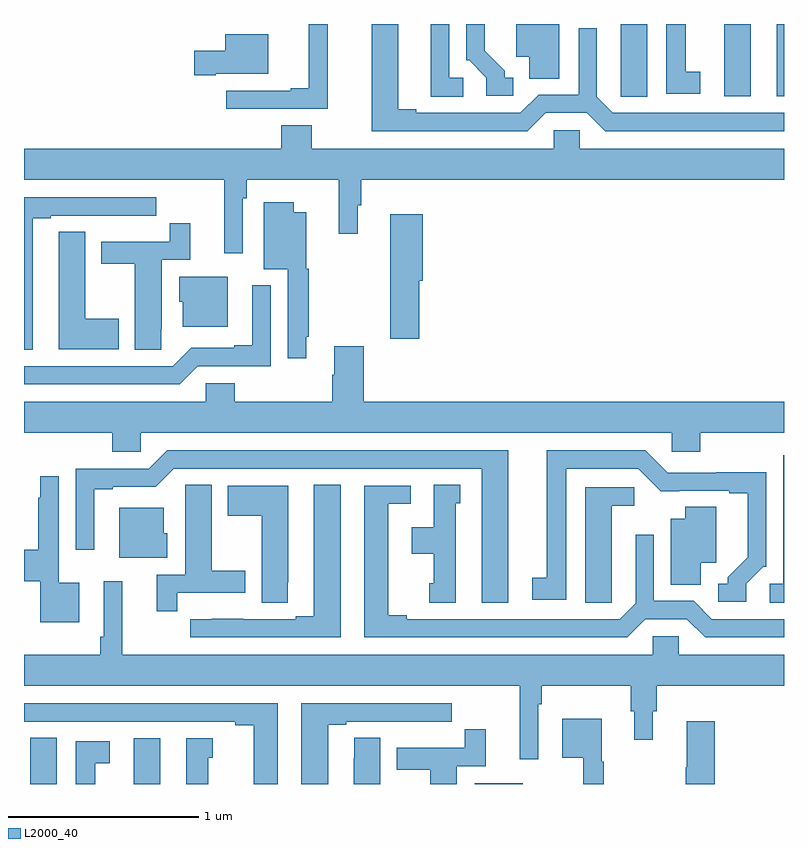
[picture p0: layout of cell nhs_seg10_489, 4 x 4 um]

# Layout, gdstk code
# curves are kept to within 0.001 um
import gdstk
lib = gdstk.Library(unit=1e-6, precision=1e-09)
def R(c, l, rs):  # rectangles x0, y0, x1, y1
    for r in rs: c.add(gdstk.rectangle(r[:2], r[2:], *l))
def P(c, l, *ps):  # polygons
    for p in ps: c.add(gdstk.Polygon(p, *l))
L2000_40 = (2000, 40)

nhs_seg10_489 = lib.new_cell('nhs_seg10_489')
R(nhs_seg10_489, L2000_40, [(135.578,1266.5,135.718,1266.742), (137.372,1266.5,137.626,1266.505), (138.686,1270.119,138.826,1270.5), (138.962,1270.119,139,1270.5)])
P(nhs_seg10_489, L2000_40, [(137.311,1270.218),(137.238,1270.218),(137.238,1270.5),(137.141,1270.5),(137.141,1270.117),(137.311,1270.117)],
  [(138.28,1270.5),(138.14,1270.5),(138.14,1270.225),(138.141,1270.225),(138.141,1270.117),(138.28,1270.117)],
  [(137.745,1270.032),(137.963,1270.032),(138.059,1269.936),(139,1269.936),(139,1270.032),(138.099,1270.032),(138.015,1270.116),(138.015,1270.477),(137.919,1270.477),(137.919,1270.128),(137.709,1270.128),(137.613,1270.032),(137.065,1270.032),(137.065,1270.052),(136.969,1270.052),(136.969,1270.5),(136.829,1270.5),(136.829,1269.936),(137.649,1269.936)],
  [(137.575,1270.218),(137.53,1270.218),(137.53,1270.253),(137.425,1270.358),(137.425,1270.5),(137.328,1270.5),(137.328,1270.308),(137.343,1270.308),(137.433,1270.218),(137.433,1270.122),(137.575,1270.122)],
  [(138.559,1270.25),(138.484,1270.25),(138.484,1270.5),(138.38,1270.5),(138.38,1270.134),(138.559,1270.134)],
  [(137.818,1270.5),(137.591,1270.5),(137.591,1270.328),(137.66,1270.328),(137.66,1270.213),(137.818,1270.213)],
  [(136.599,1270.5),(136.499,1270.5),(136.499,1270.162),(136.403,1270.162),(136.403,1270.149),(136.065,1270.149),(136.065,1270.053),(136.599,1270.053)],
  [(136.009,1270.238),(136.285,1270.238),(136.285,1270.447),(136.058,1270.447),(136.058,1270.36),(135.897,1270.36),(135.897,1270.231),(136.009,1270.231)],
  [(136.152,1269.584),(136.172,1269.584),(136.172,1269.68),(136.657,1269.68),(136.657,1269.396),(136.756,1269.396),(136.756,1269.546),(136.775,1269.546),(136.775,1269.68),(139,1269.68),(139,1269.844),(137.925,1269.844),(137.925,1269.942),(137.787,1269.942),(137.787,1269.844),(136.515,1269.844),(136.515,1269.968),(136.355,1269.968),(136.355,1269.844),(135,1269.844),(135,1269.68),(136.055,1269.68),(136.055,1269.294),(136.152,1269.294)],
  [(135.046,1269.477),(135.142,1269.477),(135.142,1269.492),(135.418,1269.492),(135.418,1269.491),(135.584,1269.491),(135.584,1269.492),(135.697,1269.492),(135.697,1269.588),(135,1269.588),(135,1268.785),(135.046,1268.785)],
  [(136.486,1268.854),(136.498,1268.854),(136.498,1269.213),(136.486,1269.213),(136.486,1269.508),(136.42,1269.508),(136.42,1269.562),(136.262,1269.562),(136.262,1269.209),(136.389,1269.209),(136.389,1268.742),(136.486,1268.742)],
  [(137.081,1269.15),(137.099,1269.15),(137.099,1269.499),(136.928,1269.499),(136.928,1269.15),(136.927,1269.15),(136.927,1268.844),(137.081,1268.844)],
  [(135.723,1268.896),(135.724,1268.896),(135.724,1269.258),(135.875,1269.258),(135.875,1269.451),(135.766,1269.451),(135.766,1269.354),(135.407,1269.354),(135.407,1269.238),(135.584,1269.238),(135.584,1268.785),(135.723,1268.785)],
  [(135.499,1268.949),(135.322,1268.949),(135.322,1269.407),(135.183,1269.407),(135.183,1269.299),(135.182,1269.299),(135.182,1268.789),(135.499,1268.789)],
  [(136.072,1269.169),(135.818,1269.169),(135.818,1269.039),(135.836,1269.039),(135.836,1268.906),(136.072,1268.906)],
  [(135.915,1268.7),(136.299,1268.7),(136.299,1269.124),(136.202,1269.124),(136.202,1268.809),(136.106,1268.809),(136.106,1268.796),(135.879,1268.796),(135.783,1268.7),(135,1268.7),(135,1268.604),(135.819,1268.604)],
  [(135.615,1268.348),(138.408,1268.348),(138.408,1268.25),(138.56,1268.25),(138.56,1268.348),(139,1268.348),(139,1268.512),(136.787,1268.512),(136.787,1268.803),(136.634,1268.803),(136.634,1268.654),(136.622,1268.654),(136.622,1268.512),(136.109,1268.512),(136.109,1268.61),(135.957,1268.61),(135.957,1268.512),(135,1268.512),(135,1268.348),(135.464,1268.348),(135.464,1268.25),(135.615,1268.25)],
  [(138.801,1267.554),(138.891,1267.644),(138.906,1267.644),(138.906,1268.141),(138.643,1268.141),(138.643,1268.139),(138.387,1268.139),(138.27,1268.256),(137.75,1268.256),(137.75,1267.586),(137.676,1267.586),(137.676,1267.47),(137.854,1267.47),(137.854,1268.16),(138.234,1268.16),(138.352,1268.042),(138.713,1268.043),(138.713,1268.031),(138.809,1268.031),(138.809,1267.694),(138.704,1267.589),(138.704,1267.554),(138.654,1267.554),(138.654,1267.458),(138.801,1267.458)],
  [(137.548,1268.256),(135.753,1268.256),(135.657,1268.16),(135.273,1268.16),(135.273,1267.734),(135.37,1267.734),(135.37,1268.052),(135.466,1268.052),(135.466,1268.064),(135.693,1268.064),(135.789,1268.16),(137.408,1268.16),(137.408,1267.455),(137.548,1267.455)],
  [(139,1268.229),(138.996,1268.229),(138.996,1267.554),(138.924,1267.554),(138.924,1267.453),(139,1267.453)],
  [(135.292,1267.558),(135.183,1267.558),(135.183,1268.119),(135.086,1268.119),(135.086,1268.006),(135.075,1268.006),(135.075,1267.734),(135,1267.734),(135,1267.568),(135.086,1267.568),(135.086,1267.352),(135.292,1267.352)],
  [(135.806,1267.506),(136.165,1267.506),(136.165,1267.623),(135.988,1267.623),(135.988,1268.075),(135.849,1268.075),(135.849,1267.964),(135.848,1267.964),(135.848,1267.602),(135.698,1267.602),(135.698,1267.41),(135.806,1267.41)],
  [(136.666,1268.075),(136.526,1268.075),(136.526,1267.383),(136.43,1267.383),(136.43,1267.368),(136.154,1267.368),(136.154,1267.369),(135.988,1267.369),(135.988,1267.368),(135.876,1267.368),(135.876,1267.272),(136.666,1267.272)],
  [(137.272,1267.977),(137.296,1267.977),(137.296,1268.075),(137.156,1268.075),(137.156,1267.852),(137.042,1267.852),(137.042,1267.712),(137.156,1267.712),(137.156,1267.557),(137.132,1267.557),(137.132,1267.455),(137.272,1267.455)],
  [(136.389,1267.561),(136.39,1267.561),(136.39,1268.071),(136.073,1268.071),(136.073,1267.912),(136.25,1267.912),(136.25,1267.453),(136.389,1267.453)],
  [(138.271,1267.368),(138.489,1267.368),(138.585,1267.272),(139,1267.272),(139,1267.368),(138.621,1267.368),(138.525,1267.464),(138.315,1267.464),(138.315,1267.813),(138.219,1267.813),(138.219,1267.452),(138.135,1267.368),(137.014,1267.368),(137.014,1267.388),(136.918,1267.388),(136.918,1267.974),(137.035,1267.974),(137.035,1268.07),(136.79,1268.07),(136.79,1267.272),(138.175,1267.272)],
  [(138.093,1267.561),(138.094,1267.561),(138.094,1267.964),(138.211,1267.964),(138.211,1268.061),(137.954,1268.061),(137.954,1267.453),(138.093,1267.453)],
  [(138.562,1267.664),(138.643,1267.664),(138.643,1267.958),(138.479,1267.958),(138.479,1267.897),(138.404,1267.897),(138.404,1267.549),(138.562,1267.549)],
  [(135.754,1267.821),(135.736,1267.821),(135.736,1267.954),(135.5,1267.954),(135.5,1267.691),(135.754,1267.691)],
  [(137.706,1266.92),(137.726,1266.92),(137.726,1267.016),(138.193,1267.016),(138.193,1266.882),(138.212,1266.882),(138.212,1266.732),(138.31,1266.732),(138.31,1266.882),(138.329,1266.882),(138.329,1267.016),(139,1267.016),(139,1267.18),(138.447,1267.18),(138.447,1267.278),(138.309,1267.278),(138.309,1267.18),(135.518,1267.18),(135.518,1267.567),(135.42,1267.567),(135.42,1267.276),(135.4,1267.276),(135.4,1267.18),(135,1267.18),(135,1267.016),(137.609,1267.016),(137.609,1266.63),(137.706,1266.63)],
  [(136.6,1266.813),(136.696,1266.813),(136.696,1266.828),(136.972,1266.828),(136.972,1266.827),(137.138,1266.827),(137.138,1266.828),(137.251,1266.828),(137.251,1266.924),(136.46,1266.924),(136.46,1266.5),(136.6,1266.5)],
  [(136.336,1266.924),(135,1266.924),(135,1266.828),(136.112,1266.828),(136.112,1266.808),(136.208,1266.808),(136.208,1266.5),(136.336,1266.5)],
  [(138.052,1266.618),(138.04,1266.618),(138.04,1266.844),(137.834,1266.844),(137.834,1266.638),(137.943,1266.638),(137.943,1266.5),(138.052,1266.5)],
  [(138.635,1266.829),(138.488,1266.829),(138.488,1266.589),(138.482,1266.589),(138.482,1266.5),(138.635,1266.5)],
  [(137.278,1266.594),(137.429,1266.594),(137.429,1266.787),(137.32,1266.787),(137.32,1266.69),(136.961,1266.69),(136.961,1266.574),(137.138,1266.574),(137.138,1266.5),(137.278,1266.5)],
  [(135.172,1266.743),(135.033,1266.743),(135.033,1266.635),(135.032,1266.635),(135.032,1266.5),(135.172,1266.5)],
  [(136.876,1266.743),(136.737,1266.743),(136.737,1266.635),(136.736,1266.635),(136.736,1266.5),(136.876,1266.5)],
  [(135.97,1266.639),(135.994,1266.639),(135.994,1266.742),(135.854,1266.742),(135.854,1266.5),(135.97,1266.5)],
  [(135.376,1266.61),(135.451,1266.61),(135.451,1266.726),(135.272,1266.726),(135.272,1266.5),(135.376,1266.5)])

lib.write_gds('nhs_seg10_489.gds')
